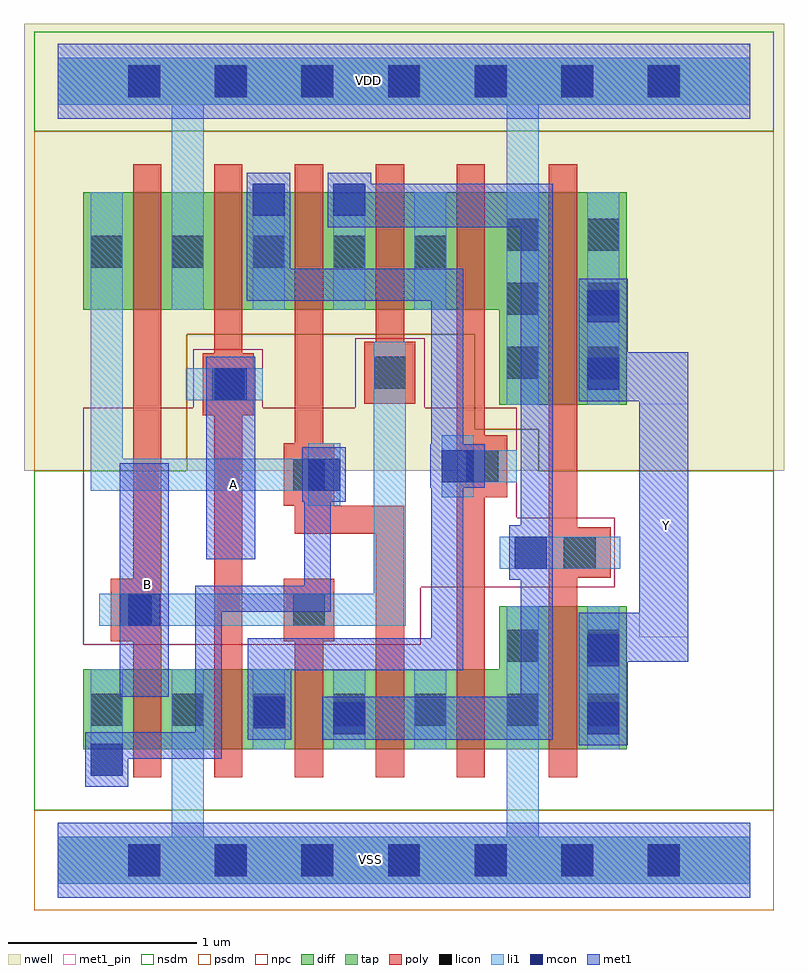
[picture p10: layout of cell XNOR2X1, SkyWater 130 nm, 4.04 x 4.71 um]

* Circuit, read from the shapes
.subckt XNOR2X1 A B VDD VSS Y
XM1 VSS B n1 VSS sky130_fd_pr__nfet_01v8 w=0.425 l=0.15
XM2 n2 A VSS VSS sky130_fd_pr__nfet_01v8 w=0.425 l=0.15
XM3 n3 B n2 VSS sky130_fd_pr__nfet_01v8 w=0.425 l=0.15
XM4 n4 n1 n3 VSS sky130_fd_pr__nfet_01v8 w=0.425 l=0.15
XM5 VSS n2 n4 VSS sky130_fd_pr__nfet_01v8 w=0.425 l=0.15
XM6 Y n3 VSS VSS sky130_fd_pr__nfet_01v8 w=0.76 l=0.15
XM7 VDD B n1 VDD sky130_fd_pr__pfet_01v8 w=0.625 l=0.15
XM8 n2 A VDD VDD sky130_fd_pr__pfet_01v8 w=0.625 l=0.15
XM9 n3 n1 n2 VDD sky130_fd_pr__pfet_01v8 w=0.625 l=0.15
XM10 n5 B n3 VDD sky130_fd_pr__pfet_01v8 w=0.625 l=0.15
XM11 VDD n2 n5 VDD sky130_fd_pr__pfet_01v8 w=0.625 l=0.15
XM12 Y n3 VDD VDD sky130_fd_pr__pfet_01v8 w=1.13 l=0.15
.ends

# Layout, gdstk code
from math import pi, radians
import gdstk
lib = gdstk.Library(unit=1e-6, precision=1e-09)
def R(c, l, rs):  # rectangles x0, y0, x1, y1
    for r in rs: c.add(gdstk.rectangle(r[:2], r[2:], *l))
def A(c, l, x, y, w, h, nx, ny, dx, dy):  # array of equal rectangles
    R(c, l, [(x+i*dx, y+j*dy, x+i*dx+w, y+j*dy+h) for i in range(nx) for j in range(ny)])
def P(c, l, *ps):  # polygons
    for p in ps: c.add(gdstk.Polygon(p, *l))
nwell = (64, 20)
diff = (65, 20)
tap = (65, 44)
poly = (66, 20)
licon = (66, 44)
li1 = (67, 20)
mcon = (67, 44)
met1_pin = (68, 16)
met1 = (68, 20)
nsdm = (93, 44)
psdm = (94, 20)
npc = (95, 20)

l1m1_c_cdns_751554744751 = lib.new_cell('L1M1_C_CDNS_7515547447511')
R(l1m1_c_cdns_751554744751, li1, [(-0.085,-0.085,0.085,0.165)])
R(l1m1_c_cdns_751554744751, mcon, [(-0.085,-0.085,0.085,0.085)])
R(l1m1_c_cdns_751554744751, met1, [(-0.115,-0.145,0.115,0.145)])

l1m1_c_cdns_751554744753 = lib.new_cell('L1M1_C_CDNS_751554744753')
R(l1m1_c_cdns_751554744753, li1, [(-0.085,-0.165,0.085,0.165)])
R(l1m1_c_cdns_751554744753, mcon, [(-0.085,-0.085,0.085,0.085)])
R(l1m1_c_cdns_751554744753, met1, [(-0.115,-0.145,0.115,0.145)])

pyl1con_c_cdns_751554744 = lib.new_cell('PYL1CON_C_CDNS_751554744751')
R(pyl1con_c_cdns_751554744, poly, [(-0.135,-0.165,0.135,0.165)])
R(pyl1con_c_cdns_751554744, licon, [(-0.085,-0.085,0.085,0.085)])
R(pyl1con_c_cdns_751554744, npc, [(-0.185,-0.185,0.185,0.185)])

c_l1m1_c_cdns_751554744751 = lib.new_cell('L1M1_C_CDNS_7515547447514')
R(c_l1m1_c_cdns_751554744751, li1, [(-0.085,-0.165,0.085,0.085)])
R(c_l1m1_c_cdns_751554744751, mcon, [(-0.085,-0.085,0.085,0.085)])
R(c_l1m1_c_cdns_751554744751, met1, [(-0.115,-0.145,0.115,0.145)])

l1m1_c_cdns_751554744758 = lib.new_cell('L1M1_C_CDNS_751554744758')
R(l1m1_c_cdns_751554744758, li1, [(-0.085,-0.165,0.085,0.165)])
R(l1m1_c_cdns_751554744758, mcon, [(-0.085,-0.085,0.085,0.085)])
R(l1m1_c_cdns_751554744758, met1, [(-0.145,-0.115,0.145,0.115)])

l1m1_c_cdns_751554744752 = lib.new_cell('L1M1_C_CDNS_751554744752')
R(l1m1_c_cdns_751554744752, li1, [(-0.085,-0.345,0.085,0.345)])
R(l1m1_c_cdns_751554744752, mcon, [(-0.085,-0.265,0.085,-0.095), (-0.085,0.095,0.085,0.265)])
R(l1m1_c_cdns_751554744752, met1, [(-0.115,-0.325,0.115,0.325)])

l1m1_c_cdns_751554744750 = lib.new_cell('L1M1_C_CDNS_751554744750')
R(l1m1_c_cdns_751554744750, li1, [(-0.165,-0.085,0.165,0.085)])
R(l1m1_c_cdns_751554744750, mcon, [(-0.085,-0.085,0.085,0.085)])
R(l1m1_c_cdns_751554744750, met1, [(-0.115,-0.145,0.115,0.145)])

xnor2x1 = lib.new_cell('XNOR2X1')
R(xnor2x1, nwell, [(-0.18,2.07,3.86,4.445)])
P(xnor2x1, diff, [(3.025,3.55),(0.135,3.55),(0.135,2.925),(2.345,2.925),(2.345,2.42),(3.025,2.42)],
  [(3.025,1.35),(2.345,1.35),(2.345,1.015),(0.135,1.015),(0.135,0.59),(3.025,0.59)])
R(xnor2x1, poly, [(0.4,0.44,0.55,3.7), (0.83,0.44,0.98,3.7), (1.26,0.44,1.41,1.165), (2.12,0.44,2.27,3.7), (2.61,0.44,2.76,3.7), (1.69,2.59,1.84,3.7)])
P(xnor2x1, poly, [(1.84,1.885),(1.47,1.885),(1.47,2.215),(1.41,2.215),(1.41,3.7),(1.26,3.7),(1.26,2.215),(1.2,2.215),(1.2,1.885),(1.26,1.885),(1.26,1.735),(1.69,1.735),(1.69,0.44),(1.84,0.44)])
A(xnor2x1, licon, 0.375, -0.085, 0.17, 0.17, 7, 2, 0.46, 4.14)
A(xnor2x1, licon, 0.175, 0.715, 0.17, 0.17, 5, 2, 0.43, 2.435)
A(xnor2x1, licon, 2.385, 2.56, 0.17, 0.17, 1, 3, 0, 0.34)
A(xnor2x1, licon, 2.815, 2.56, 0.17, 0.17, 1, 3, 0, 0.34)
R(xnor2x1, licon, [(2.385,0.715,2.555,0.885), (2.815,0.715,2.985,0.885), (2.385,1.055,2.555,1.225), (2.815,1.055,2.985,1.225)])
A(xnor2x1, li1, 1.035, 0.59, 0.17, 0.425, 3, 1, 0.43, 0)
A(xnor2x1, li1, 1.035, 2.925, 0.17, 0.625, 3, 1, 0.43, 0)
R(xnor2x1, li1, [(0.175,0.59,0.345,1.015), (2.815,0.59,2.985,1.35), (2.815,2.42,2.985,3.55)])
P(xnor2x1, li1, [(1.5,2.135),(0.345,2.135),(0.345,3.55),(0.175,3.55),(0.175,1.965),(1.5,1.965)],
  [(3.68,4.265),(0,4.265),(0,4.015),(0.605,4.015),(0.605,2.925),(0.775,2.925),(0.775,4.015),(2.385,4.015),(2.385,2.42),(2.555,2.42),(2.555,4.015),(3.68,4.015)],
  [(3.68,0.125),(2.555,0.125),(2.555,1.35),(2.385,1.35),(2.385,0.125),(0.775,0.125),(0.775,1.015),(0.605,1.015),(0.605,0.125),(0,0.125),(0,-0.125),(3.68,-0.125)])
A(xnor2x1, mcon, 0.375, -0.085, 0.17, 0.17, 7, 2, 0.46, 4.14)
R(xnor2x1, met1_pin, [(0.33,0.87,0.59,2.11), (3.09,1.185,3.35,2.425), (0.79,1.6,1.05,2.675)])
P(xnor2x1, met1, [(1.45,2.05),(1.31,2.05),(1.31,1.46),(0.73,1.46),(0.73,0.68),(0.145,0.68),(0.145,0.535),(0.375,0.535),(0.375,0.54),(0.87,0.54),(0.87,1.32),(1.45,1.32)],
  [(2.155,3.145),(1.235,3.145),(1.235,3.51),(1.005,3.51),(1.005,2.975),(1.985,2.975),(1.985,1.18),(1.01,1.18),(1.01,0.85),(1.24,0.85),(1.24,1.01),(2.155,1.01)],
  [(2.63,3.595),(1.55,3.595),(1.55,3.365),(2.46,3.365),(2.46,0.87),(1.54,0.87),(1.54,0.64),(2.63,0.64)])
R(xnor2x1, nsdm, [(-0.125,3.875,3.805,4.405)])
P(xnor2x1, nsdm, [(3.805,2.07),(2.555,2.07),(2.555,2.29),(2.215,2.29),(2.215,2.795),(0.685,2.795),(0.685,2.07),(-0.125,2.07),(-0.125,0.265),(3.805,0.265)])
R(xnor2x1, psdm, [(-0.125,-0.265,3.805,0.265)])
P(xnor2x1, psdm, [(3.805,3.875),(-0.125,3.875),(-0.125,2.07),(0.685,2.07),(0.685,2.795),(2.215,2.795),(2.215,2.29),(2.555,2.29),(2.555,2.07),(3.805,2.07)])
P(xnor2x1, npc, [(2.83,1.82),(2.44,1.82),(2.44,2.405),(0.135,2.405),(0.135,1.145),(1.93,1.145),(1.93,1.45),(2.83,1.45)])
xnor2x1.add(gdstk.FlexPath([(0.685,2.53),(1.09,2.53)], 0.17, ends="flush", simple_path=True, layer=67, datatype=20))  # li1
xnor2x1.add(gdstk.FlexPath([(2.135,2.095),(2.44,2.095)], 0.17, ends="flush", simple_path=True, layer=67, datatype=20))  # li1
xnor2x1.add(gdstk.FlexPath([(2.525,1.635),(2.99,1.635)], 0.17, ends="flush", simple_path=True, layer=67, datatype=20))  # li1
xnor2x1.add(gdstk.FlexPath([(0.22,1.33),(1.765,1.33),(1.765,2.755)], 0.17, ends="flush", simple_path=True, layer=67, datatype=20))  # li1
xnor2x1.add(gdstk.FlexPath([(0,4.14),(3.68,4.14)], 0.4, ends="flush", simple_path=True, layer=68, datatype=16))  # met1_pin
xnor2x1.add(gdstk.FlexPath([(0,0),(3.68,0)], 0.4, ends="flush", simple_path=True, layer=68, datatype=16))  # met1_pin
xnor2x1.add(gdstk.FlexPath([(0,4.14),(3.68,4.14)], 0.4, ends="flush", simple_path=True, layer=68, datatype=20))  # met1
xnor2x1.add(gdstk.FlexPath([(2.9,2.765),(2.9,2.57),(3.22,2.57),(3.22,1.185),(2.9,1.185),(2.9,0.935)], 0.26, ends=(0.325, 0.325), simple_path=True, layer=68, datatype=20))  # met1
xnor2x1.add(gdstk.FlexPath([(0.92,1.6),(0.92,2.675)], 0.26, ends="flush", simple_path=True, layer=68, datatype=20))  # met1
xnor2x1.add(gdstk.FlexPath([(0,0),(3.68,0)], 0.4, ends="flush", simple_path=True, layer=68, datatype=20))  # met1
xnor2x1.add(gdstk.FlexPath([(0.46,0.87),(0.46,2.11)], 0.26, ends="flush", simple_path=True, layer=68, datatype=20))  # met1
xnor2x1.add(gdstk.FlexPath([(0,0),(3.68,0)], 0.25, ends="flush", simple_path=True, layer=65, datatype=44))  # tap
xnor2x1.add(gdstk.FlexPath([(0,4.14),(3.68,4.14)], 0.25, ends="flush", simple_path=True, layer=65, datatype=44))  # tap
xnor2x1.add(gdstk.Reference(l1m1_c_cdns_751554744751, (0.26,0.535)))
xnor2x1.add(gdstk.Reference(l1m1_c_cdns_751554744753, (1.125,0.785)))
xnor2x1.add(gdstk.Reference(l1m1_c_cdns_751554744753, (1.415,2.05), rotation=pi))
xnor2x1.add(gdstk.Reference(pyl1con_c_cdns_751554744, (0.415,1.33)))
xnor2x1.add(gdstk.Reference(pyl1con_c_cdns_751554744, (1.765,2.59)))
xnor2x1.add(gdstk.Reference(pyl1con_c_cdns_751554744, (0.905,2.53)))
xnor2x1.add(gdstk.Reference(pyl1con_c_cdns_751554744, (2.775,1.635), rotation=3*pi/2))
xnor2x1.add(gdstk.Reference(pyl1con_c_cdns_751554744, (1.335,1.33)))
xnor2x1.add(gdstk.Reference(pyl1con_c_cdns_751554744, (2.255,2.095)))
xnor2x1.add(gdstk.Reference(pyl1con_c_cdns_751554744, (1.335,2.05)))
xnor2x1.add(gdstk.Reference(c_l1m1_c_cdns_751554744751, (1.55,3.51)))
xnor2x1.add(gdstk.Reference(c_l1m1_c_cdns_751554744751, (1.12,3.51)))
xnor2x1.add(gdstk.Reference(l1m1_c_cdns_751554744758, (1.55,0.755)))
xnor2x1.add(gdstk.Reference(l1m1_c_cdns_751554744752, (2.9,0.935)))
xnor2x1.add(gdstk.Reference(l1m1_c_cdns_751554744752, (2.9,2.765)))
xnor2x1.add(gdstk.Reference(l1m1_c_cdns_751554744750, (2.515,1.635)))
xnor2x1.add(gdstk.Reference(l1m1_c_cdns_751554744750, (0.92,2.53), x_reflection=True))
xnor2x1.add(gdstk.Reference(l1m1_c_cdns_751554744750, (2.125,2.095), rotation=3*pi/2))
xnor2x1.add(gdstk.Reference(l1m1_c_cdns_751554744750, (0.46,1.33), x_reflection=True))
xnor2x1.add(gdstk.Label('VSS', (1.66,0.005), layer=68, texttype=5))
xnor2x1.add(gdstk.Label('VDD', (1.65,4.145), layer=68, texttype=5))
xnor2x1.add(gdstk.Label('Y', (3.235,1.78), layer=68, texttype=5))
xnor2x1.add(gdstk.Label('A', (0.935,1.995), layer=68, texttype=5))
xnor2x1.add(gdstk.Label('B', (0.475,1.465), layer=68, texttype=5))

lib.write_gds('XNOR2X1.gds')
